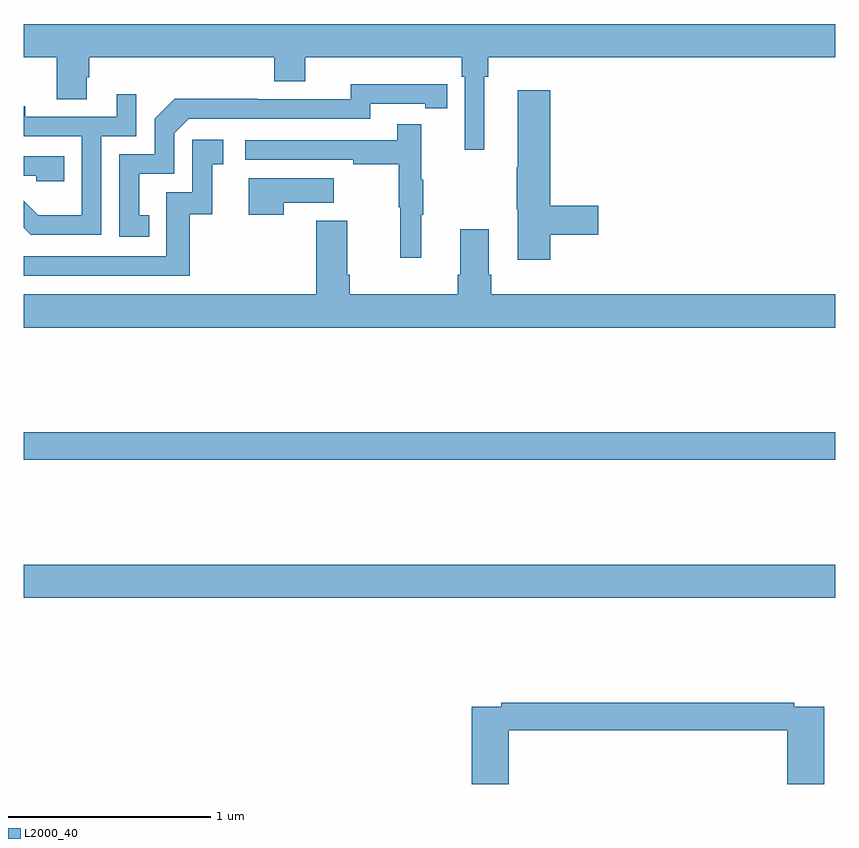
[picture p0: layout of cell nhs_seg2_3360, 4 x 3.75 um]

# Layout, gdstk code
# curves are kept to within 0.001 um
import gdstk
lib = gdstk.Library(unit=1e-6, precision=1e-09)
def R(c, l, rs):  # rectangles x0, y0, x1, y1
    for r in rs: c.add(gdstk.rectangle(r[:2], r[2:], *l))
def P(c, l, *ps):  # polygons
    for p in ps: c.add(gdstk.Polygon(p, *l))
L2000_40 = (2000, 40)

nhs_seg2_3360 = lib.new_cell('nhs_seg2_3360')
R(nhs_seg2_3360, L2000_40, [(287,652.964,291,653.128), (287,653.644,291,653.78)])
P(nhs_seg2_3360, L2000_40, [(289.27,655.532),(289.289,655.532),(289.289,655.628),(291,655.628),(291,655.792),(287,655.792),(287,655.628),(287.164,655.628),(287.164,655.42),(287.311,655.42),(287.311,655.53),(287.324,655.53),(287.324,655.628),(288.236,655.628),(288.236,655.511),(288.388,655.511),(288.388,655.628),(289.16,655.628),(289.16,655.532),(289.173,655.532),(289.173,655.173),(289.27,655.173)],
  [(287.618,654.849),(287.569,654.849),(287.569,655.053),(287.742,655.053),(287.742,655.254),(287.814,655.326),(288.708,655.326),(288.708,655.398),(288.98,655.398),(288.98,655.378),(289.088,655.378),(289.088,655.494),(288.612,655.495),(288.612,655.422),(288.152,655.422),(288.152,655.424),(287.744,655.424),(287.646,655.326),(287.646,655.149),(287.472,655.149),(287.472,654.744),(287.618,654.744)],
  [(289.595,654.754),(289.831,654.754),(289.831,654.896),(289.595,654.896),(289.595,655.465),(289.436,655.465),(289.436,655.085),(289.429,655.085),(289.429,654.879),(289.436,654.879),(289.436,654.63),(289.595,654.63)],
  [(287.382,655.239),(287.556,655.239),(287.556,655.447),(287.459,655.447),(287.459,655.335),(287.008,655.335),(287.008,655.387),(287,655.387),(287,655.239),(287.286,655.239),(287.286,654.85),(287.072,654.85),(287,654.922),(287,654.789),(287.036,654.753),(287.382,654.753)],
  [(288.959,654.851),(288.97,654.851),(288.97,655.025),(288.959,655.025),(288.959,655.297),(288.841,655.297),(288.841,655.218),(288.093,655.218),(288.093,655.122),(288.625,655.122),(288.625,655.102),(288.849,655.102),(288.849,654.888),(288.856,654.888),(288.856,654.639),(288.959,654.639)],
  [(287.819,654.855),(287.93,654.855),(287.93,655.101),(287.983,655.101),(287.983,655.222),(287.832,655.222),(287.832,654.963),(287.703,654.963),(287.703,654.648),(287,654.648),(287,654.552),(287.819,654.552)],
  [(287.201,655.14),(287,655.14),(287,655.044),(287.061,655.044),(287.061,655.017),(287.201,655.017)],
  [(288.281,654.911),(288.529,654.911),(288.529,655.033),(288.11,655.033),(288.11,654.852),(288.281,654.852)],
  [(288.443,654.823),(288.443,654.46),(287,654.46),(287,654.296),(291,654.296),(291,654.46),(289.304,654.46),(289.304,654.556),(289.291,654.556),(289.291,654.781),(289.151,654.781),(289.151,654.556),(289.139,654.556),(289.139,654.46),(288.608,654.46),(288.608,654.556),(288.595,654.556),(288.595,654.823)],
  [(289.391,652.312),(290.762,652.312),(290.762,652.047),(290.945,652.047),(290.945,652.428),(290.798,652.428),(290.798,652.448),(289.354,652.448),(289.354,652.428),(289.208,652.428),(289.208,652.047),(289.391,652.047)])

lib.write_gds('nhs_seg2_3360.gds')
